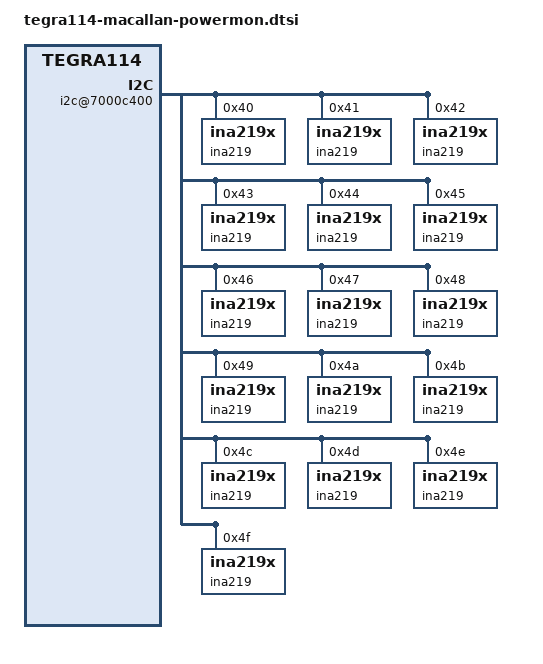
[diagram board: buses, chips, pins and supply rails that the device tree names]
/ {
	i2c@7000c400 {
		ina219@40{
			compatible = "ina219x";
			reg = <0x40>;
			ti,rail-name = "VD_CPU";
			ti,continuous-config = <0x3FFF>;
			ti,trigger-config = <0x01DB>;
			ti,calibration-data = <0x7CD2>;
			ti,power-lsb = <2563>;
			ti,divisor = <20>;
			ti,shunt-resistor-mohm = <1>;
			ti,precision-multiplier = <1000>;
		};

		ina219@41{
			compatible = "ina219x";
			reg = <0x41>;
			ti,rail-name = "VD_SOC";
			ti,continuous-config = <0x3FFF>;
			ti,trigger-config = <0x01DB>;
			ti,calibration-data = <0x7CD2>;
			ti,power-lsb = <2563>;
			ti,divisor = <20>;
			ti,shunt-resistor-mohm = <1>;
			ti,precision-multiplier = <1000>;
		};

		ina219@42{
			compatible = "ina219x";
			reg = <0x42>;
			ti,rail-name = "VS_DDR0";
			ti,continuous-config = <0x3FFF>;
			ti,trigger-config = <0x01DB>;
			ti,calibration-data = <0xFFFE>;
			ti,power-lsb = <1250>;
			ti,divisor = <20>;
			ti,shunt-resistor-mohm = <10>;
			ti,precision-multiplier = <1000>;
		};

		ina219@43{
			compatible = "ina219x";
			reg = <0x43>;
			ti,rail-name = "VS_DDR1";
			ti,continuous-config = <0x3FFF>;
			ti,trigger-config = <0x01DB>;
			ti,calibration-data = <0xFFFE>;
			ti,power-lsb = <1250>;
			ti,divisor = <20>;
			ti,shunt-resistor-mohm = <10>;
			ti,precision-multiplier = <1000>;
		};

		ina219@44{
			compatible = "ina219x";
			reg = <0x44>;
			ti,rail-name = "";
			ti,continuous-config = <0x0000>;
			ti,trigger-config = <0x0000>;
			ti,calibration-data = <0x4C4C4543>;
			ti,divisor = <17494>;
		};

		ina219@45{
			compatible = "ina219x";
			reg = <0x45>;
			ti,rail-name = "VD_LCD_HV";
			ti,continuous-config = <0x3FFF>;
			ti,trigger-config = <0x01DB>;
			ti,calibration-data = <0xFFFE>;
			ti,power-lsb = <1250>;
			ti,divisor = <20>;
			ti,shunt-resistor-mohm = <10>;
			ti,precision-multiplier = <1000>;
		};

		ina219@46{
			compatible = "ina219x";
			reg = <0x46>;
			ti,rail-name = "VS_SYS_1V8";
			ti,continuous-config = <0x3FFF>;
			ti,trigger-config = <0x01DB>;
			ti,calibration-data = <0x7CD2>;
			ti,power-lsb = <2563>;
			ti,divisor = <20>;
			ti,shunt-resistor-mohm = <10>;
			ti,precision-multiplier = <1000>;
		};

		ina219@47{
			compatible = "ina219x";
			reg = <0x47>;
			ti,rail-name = "VD_AP_1V8";
			ti,continuous-config = <0x3FFF>;
			ti,trigger-config = <0x01DB>;
			ti,calibration-data = <0xFFFE>;
			ti,power-lsb = <1250>;
			ti,divisor = <20>;
			ti,shunt-resistor-mohm = <10>;
			ti,precision-multiplier = <1000>;
		};

		ina219@48{
			compatible = "ina219x";
			reg = <0x48>;
			ti,rail-name = "VD_AP_RTC";
			ti,continuous-config = <0x3FFF>;
			ti,trigger-config = <0x01DB>;
			ti,calibration-data = <0xFFFE>;
			ti,power-lsb = <1250>;
			ti,divisor = <20>;
			ti,shunt-resistor-mohm = <10>;
			ti,precision-multiplier = <1000>;
		};

		ina219@49{
			compatible = "ina219x";
			reg = <0x49>;
			ti,rail-name = "VS_AUD_SYS";
			ti,continuous-config = <0x3FFF>;
			ti,trigger-config = <0x01DB>;
			ti,calibration-data = <0xFFFE>;
			ti,power-lsb = <1250>;
			ti,divisor = <20>;
			ti,shunt-resistor-mohm = <10>;
			ti,precision-multiplier = <1000>;
		};

		ina219@4a{
			compatible = "ina219x";
			reg = <0x4a>;
			ti,rail-name = "VD_DDR0";
			ti,continuous-config = <0x3FFF>;
			ti,trigger-config = <0x01DB>;
			ti,calibration-data = <0xAEC0>;
			ti,power-lsb = <1831>;
			ti,divisor = <20>;
			ti,shunt-resistor-mohm = <10>;
			ti,precision-multiplier = <1000>;
		};

		ina219@4b{
			compatible = "ina219x";
			reg = <0x4b>;
			ti,rail-name = "VD_DDR1";
			ti,continuous-config = <0x3FFF>;
			ti,trigger-config = <0x01DB>;
			ti,calibration-data = <0xAEC0>;
			ti,power-lsb = <1831>;
			ti,divisor = <20>;
			ti,shunt-resistor-mohm = <10>;
			ti,precision-multiplier = <1000>;
		};

		ina219@4c{
			compatible = "ina219x";
			reg = <0x4c>;
			ti,rail-name = "VD_AP_VBUS";
			ti,continuous-config = <0x3FFF>;
			ti,trigger-config = <0x01DB>;
			ti,calibration-data = <0xFFFE>;
			ti,power-lsb = <1250>;
			ti,divisor = <20>;
			ti,shunt-resistor-mohm = <200>;
			ti,precision-multiplier = <1000>;
		};

		ina219@4d{
			compatible = "ina219x";
			reg = <0x4d>;
			ti,rail-name = "VS_SYS_2V9";
			ti,continuous-config = <0x3FFF>;
			ti,trigger-config = <0x01DB>;
			ti,calibration-data = <0xFFFE>;
			ti,power-lsb = <1250>;
			ti,divisor = <20>;
			ti,shunt-resistor-mohm = <10>;
			ti,precision-multiplier = <1000>;
		};

		ina219@4e{
			compatible = "ina219x";
			reg = <0x4e>;
			ti,rail-name = "VA_PLLX";
			ti,continuous-config = <0x3FFF>;
			ti,trigger-config = <0x01DB>;
			ti,calibration-data = <0xFFFE>;
			ti,power-lsb = <1250>;
			ti,divisor = <20>;
			ti,shunt-resistor-mohm = <10>;
			ti,precision-multiplier = <1000>;
		};

		ina219@4f{
			compatible = "ina219x";
			reg = <0x4f>;
			ti,rail-name = "VA_AP_1V2";
			ti,continuous-config = <0x3FFF>;
			ti,trigger-config = <0x01DB>;
			ti,calibration-data = <0xFFFE>;
			ti,power-lsb = <1250>;
			ti,divisor = <20>;
			ti,shunt-resistor-mohm = <10>;
			ti,precision-multiplier = <1000>;
		};
	};
};
